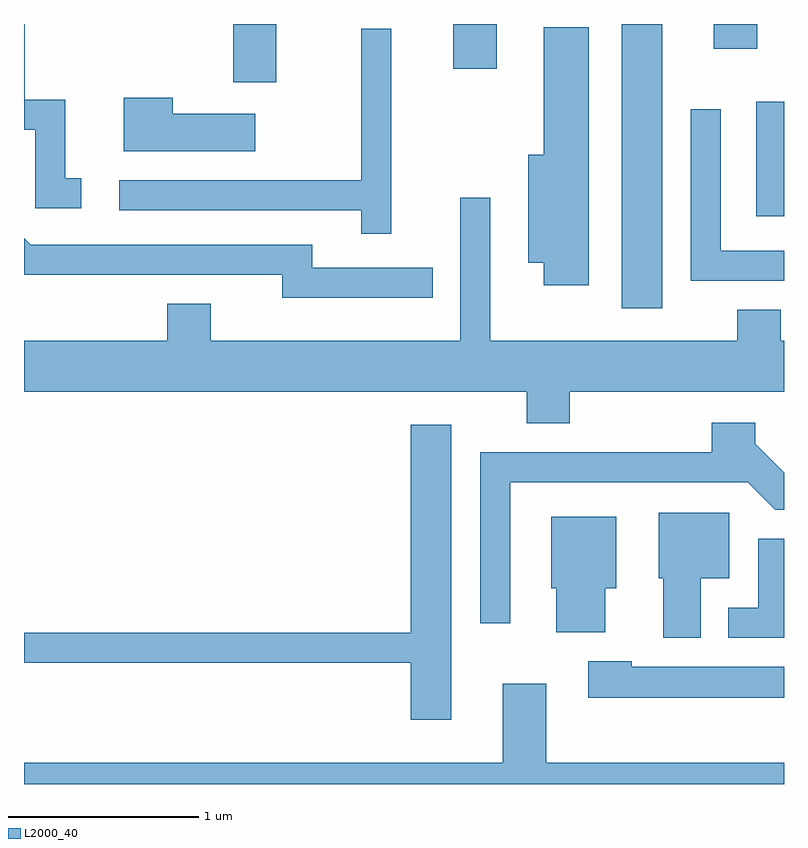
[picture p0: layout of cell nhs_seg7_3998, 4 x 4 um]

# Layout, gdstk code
import gdstk
lib = gdstk.Library(unit=1e-6, precision=1e-09)
def R(c, l, rs):  # rectangles x0, y0, x1, y1
    for r in rs: c.add(gdstk.rectangle(r[:2], r[2:], *l))
def P(c, l, *ps):  # polygons
    for p in ps: c.add(gdstk.Polygon(p, *l))
L2000_40 = (2000, 40)

nhs_seg7_3998 = lib.new_cell('nhs_seg7_3998')
R(nhs_seg7_3998, L2000_40, [(310.756,1714.756,310.969,1716.252), (311.466,1715.241,311.611,1715.844), (308.711,1715.946,308.939,1716.252), (309.871,1716.016,310.099,1716.252), (311.241,1716.121,311.469,1716.252)])
P(nhs_seg7_3998, L2000_40, [(307.913,1715.439),(307.829,1715.439),(307.829,1715.854),(307.614,1715.854),(307.614,1716.252),(307.611,1716.252),(307.611,1715.696),(307.671,1715.696),(307.671,1715.281),(307.913,1715.281)],
  [(310.584,1716.234),(310.346,1716.234),(310.346,1715.564),(310.266,1715.564),(310.266,1714.996),(310.346,1714.996),(310.346,1714.876),(310.584,1714.876)],
  [(309.544,1716.228),(309.386,1716.228),(309.386,1715.429),(308.113,1715.429),(308.113,1715.271),(309.386,1715.271),(309.386,1715.148),(309.544,1715.148)],
  [(308.829,1715.779),(308.394,1715.779),(308.394,1715.864),(308.136,1715.864),(308.136,1715.581),(308.829,1715.581)],
  [(311.611,1715.059),(311.279,1715.059),(311.279,1715.803),(311.121,1715.803),(311.121,1714.901),(311.611,1714.901)],
  [(310.484,1714.316),(311.611,1714.316),(311.611,1714.584),(311.594,1714.584),(311.594,1714.749),(311.366,1714.749),(311.366,1714.584),(310.064,1714.584),(310.064,1715.338),(309.906,1715.338),(309.906,1714.584),(308.594,1714.584),(308.594,1714.779),(308.366,1714.779),(308.366,1714.584),(307.611,1714.584),(307.611,1714.316),(310.256,1714.316),(310.256,1714.151),(310.484,1714.151)],
  [(309.763,1714.969),(309.129,1714.969),(309.129,1715.089),(307.647,1715.089),(307.611,1715.125),(307.611,1714.931),(308.971,1714.931),(308.971,1714.811),(309.763,1714.811)],
  [(310.169,1713.841),(311.419,1713.841),(311.564,1713.696),(311.611,1713.696),(311.611,1713.89),(311.459,1714.042),(311.459,1714.154),(311.231,1714.154),(311.231,1713.999),(310.011,1713.999),(310.011,1713.098),(310.169,1713.098)],
  [(309.859,1714.144),(309.646,1714.144),(309.646,1713.049),(307.611,1713.049),(307.611,1712.891),(309.646,1712.891),(309.646,1712.591),(309.859,1712.591)],
  [(311.174,1713.336),(311.324,1713.336),(311.324,1713.679),(310.951,1713.679),(310.951,1713.336),(310.976,1713.336),(310.976,1713.021),(311.174,1713.021)],
  [(310.669,1713.281),(310.729,1713.281),(310.729,1713.659),(310.386,1713.659),(310.386,1713.281),(310.411,1713.281),(310.411,1713.051),(310.669,1713.051)],
  [(311.611,1713.544),(311.476,1713.544),(311.476,1713.179),(311.318,1713.179),(311.318,1713.021),(311.611,1713.021)],
  [(311.611,1712.869),(310.809,1712.869),(310.809,1712.899),(310.581,1712.899),(310.581,1712.706),(311.611,1712.706)],
  [(311.611,1712.364),(310.359,1712.364),(310.359,1712.779),(310.131,1712.779),(310.131,1712.364),(307.611,1712.364),(307.611,1712.252),(311.611,1712.252)])

lib.write_gds('nhs_seg7_3998.gds')
